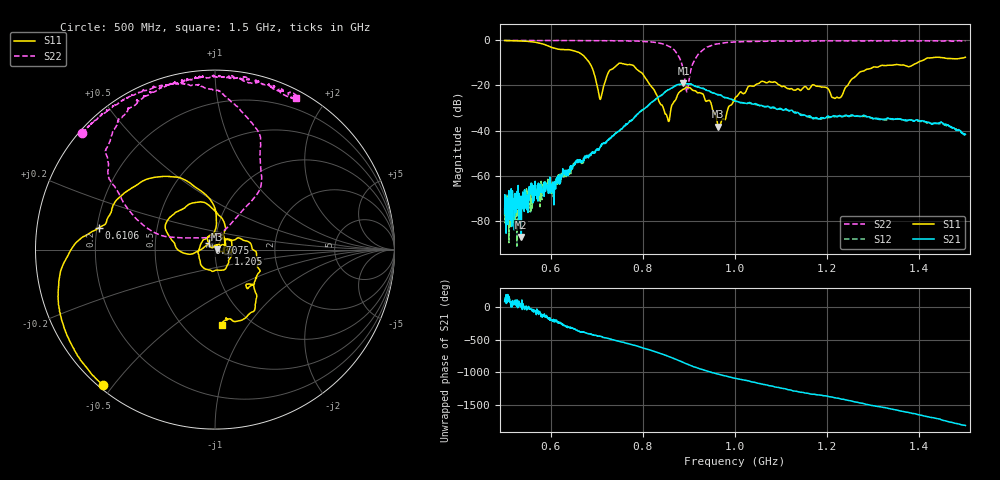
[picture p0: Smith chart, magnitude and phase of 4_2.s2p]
!Agilent Technologies,E8364B,US42250235,A.06.04.32
!Agilent E8364B: A.06.04.32
!Date: Friday, January 15, 2021 15:14:12
!Correction: S11(Full 2 Port(1,2)) S21(Full 2 Port(1,2)) S12(Full 2 Port(1,2)) S22(Full 2 Port(1,2))
!S2P File: Measurements: S11, S21, S12, S22:
# Hz S  dB  R 50
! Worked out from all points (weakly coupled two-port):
!   1601 points, 500 MHz to 1.5 GHz, reference 50 ohm
!   highest |S21| = -19.01 dB at 888.1 MHz (marker M1); lowest = -86.9 dB at 536.2 MHz (marker M2)
!   lowest |S11| = -38.2 dB at 963.8 MHz (marker M3), VSWR 1.02, Z = 51.2 + j0.0947 ohm
!   |S11| at or under -10 dB: 684.3 MHz to 1.395 GHz (710.8 MHz wide, 68.4 % of centre)
!   |S22| runs from -22.9 to -0.1 dB; largest |S21 - S12| = 0.0035
!   S11 on the Smith chart (normalised r, x): 500 MHz: 0.01, -0.47; 610.6 MHz: 0.21, +0.09; 707.5 MHz: 0.93, +0.06; 1.205 GHz: 1.16, -0.05; 1.5 GHz: 0.75, -0.76
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5e8  -0.16 -129.6  -76.69 90.2  -73.36 125.9  -0.14 138.6
5.3625e8  -0.38 -147.2  -86.89 -0.5  -70.43 47.4  -0.15 135.0
6.10625e8  -3.65 169.3  -65.69 139.6  -63.95 162.8  -0.16 127.3
6.66875e8  -6.13 124.3  -53.30 -13.7  -54.21 -15.6  -0.19 121.7
7.075e8  -26.16 135.0  -47.29 -84.1  -47.16 -79.8  -0.24 117.5
7.26875e8  -13.61 -180.0  -43.46 -121.7  -43.62 -119.4  -0.23 114.0
7.53125e8  -10.20 144.2  -39.23 -169.8  -39.39 -169.2  -0.29 110.7
7.975e8  -14.42 82.6  -30.99 103.7  -31.14 104.2  -0.51 101.2
8.3375e8  -26.36 56.5  -25.14 22.0  -25.11 23.4  -1.16 87.5
8.54375e8  -35.04 111.6  -21.98 -29.9  -21.99 -29.1  -2.50 75.4
8.88125e8  -21.65 111.7  -19.01 -127.6  -19.05 -126.5  -13.67 56.5
8.9625e8  -20.76 89.7  -19.28 -151.3  -19.29 -150.0  -22.72 111.2
9.19375e8  -23.25 41.5  -20.56 147.3  -20.71 148.6  -6.46 158.4
9.6375e8  -38.19 4.3  -24.24 54.9  -23.97 55.7  -1.61 136.1
1e9  -25.63 34.6  -26.91 -8.3  -26.83 -7.4  -0.75 122.0
1.05875e9  -18.16 -64.9  -28.97 -99.5  -29.12 -97.6  -0.45 112.4
1.166875e9  -19.97 34.5  -34.23 104.8  -34.31 108.3  -0.37 97.6
1.205e9  -22.37 -17.4  -33.81 66.3  -34.11 68.3  -0.32 94.4
1.2275e9  -25.39 12.1  -33.38 35.5  -33.72 37.1  -0.28 90.5
1.27125e9  -14.06 11.3  -33.71 -27.0  -33.54 -26.5  -0.33 87.2
1.33375e9  -11.06 -34.5  -34.59 -113.8  -34.89 -111.9  -0.32 79.3
1.5e9  -7.53 -84.7  -41.55 -15.0  -41.99 -15.9  -0.38 62.0
